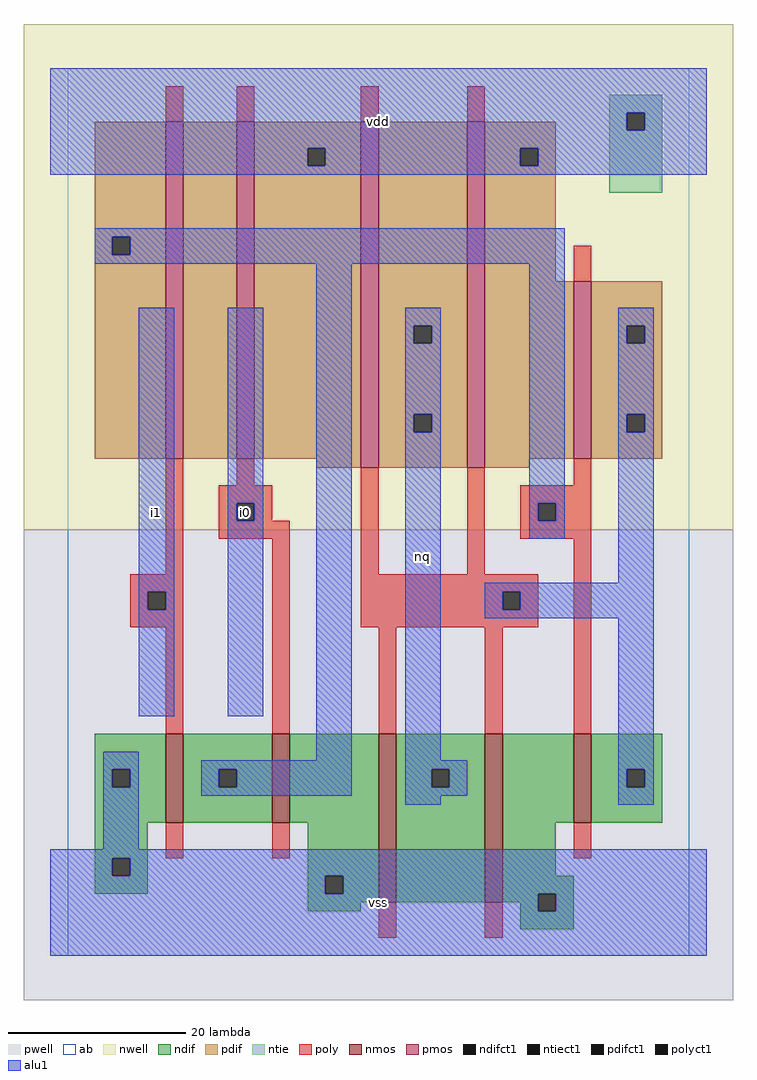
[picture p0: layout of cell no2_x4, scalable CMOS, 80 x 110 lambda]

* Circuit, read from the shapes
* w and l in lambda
.subckt no2_x4 i0 i1 nq vdd vss
M1 n1 i1 vss VSUBS nfet w=10 l=2
M2 vss i0 n1 VSUBS nfet w=10 l=2
M3 nq n2 vss VSUBS nfet w=19 l=2 m=2
M4 n2 n1 vss VSUBS nfet w=10 l=2
M5 n3 i1 n1 vdd pfet w=38 l=2
M6 vdd i0 n3 vdd pfet w=38 l=2
M7 nq n2 vdd vdd pfet w=39 l=2 m=2
M8 n2 n1 vdd vdd pfet w=20 l=2
.ends

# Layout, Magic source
magic
tech scmos
<< ab >>
rect 0 0 70 100
<< nwell >>
rect -5 48 75 105
<< pwell >>
rect -5 -5 75 48
<< poly >>
rect 11 94 13 98
rect 19 94 21 98
rect 33 94 35 98
rect 45 94 47 98
rect 11 43 13 56
rect 19 53 21 56
rect 57 76 59 80
rect 17 51 23 53
rect 17 49 19 51
rect 21 49 23 51
rect 17 47 25 49
rect 7 41 13 43
rect 7 39 9 41
rect 11 39 13 41
rect 7 37 13 39
rect 11 25 13 37
rect 23 25 25 47
rect 33 43 35 55
rect 45 43 47 55
rect 57 53 59 56
rect 51 51 59 53
rect 51 49 53 51
rect 55 49 59 51
rect 51 47 59 49
rect 33 41 53 43
rect 33 39 49 41
rect 51 39 53 41
rect 33 37 53 39
rect 35 25 37 37
rect 47 25 49 37
rect 57 25 59 47
rect 11 11 13 15
rect 23 11 25 15
rect 57 11 59 15
rect 35 2 37 6
rect 47 2 49 6
<< ndif >>
rect 3 21 11 25
rect 3 19 5 21
rect 7 19 11 21
rect 3 15 11 19
rect 13 21 23 25
rect 13 19 17 21
rect 19 19 23 21
rect 13 15 23 19
rect 25 15 35 25
rect 3 11 9 15
rect 3 9 5 11
rect 7 9 9 11
rect 3 7 9 9
rect 27 9 35 15
rect 27 7 29 9
rect 31 7 35 9
rect 27 6 35 7
rect 37 21 47 25
rect 37 19 41 21
rect 43 19 47 21
rect 37 6 47 19
rect 49 15 57 25
rect 59 21 67 25
rect 59 19 63 21
rect 65 19 67 21
rect 59 15 67 19
rect 49 9 55 15
rect 49 7 57 9
rect 49 6 53 7
rect 27 5 33 6
rect 51 5 53 6
rect 55 5 57 7
rect 51 3 57 5
<< pdif >>
rect 3 81 11 94
rect 3 79 5 81
rect 7 79 11 81
rect 3 56 11 79
rect 13 56 19 94
rect 21 91 33 94
rect 21 89 27 91
rect 29 89 33 91
rect 21 56 33 89
rect 28 55 33 56
rect 35 71 45 94
rect 35 69 39 71
rect 41 69 45 71
rect 35 61 45 69
rect 35 59 39 61
rect 41 59 45 61
rect 35 55 45 59
rect 47 91 55 94
rect 47 89 51 91
rect 53 89 55 91
rect 47 76 55 89
rect 47 56 57 76
rect 59 71 67 76
rect 59 69 63 71
rect 65 69 67 71
rect 59 61 67 69
rect 59 59 63 61
rect 65 59 67 61
rect 59 56 67 59
rect 47 55 52 56
<< alu1 >>
rect -2 95 72 100
rect -2 93 63 95
rect 65 93 72 95
rect -2 91 72 93
rect -2 89 27 91
rect 29 89 51 91
rect 53 89 72 91
rect -2 88 72 89
rect 3 81 56 82
rect 3 79 5 81
rect 7 79 56 81
rect 3 78 56 79
rect 8 41 12 73
rect 8 39 9 41
rect 11 39 12 41
rect 8 27 12 39
rect 18 51 22 73
rect 18 49 19 51
rect 21 49 22 51
rect 18 27 22 49
rect 4 21 8 23
rect 28 22 32 78
rect 4 19 5 21
rect 7 19 8 21
rect 4 12 8 19
rect 15 21 32 22
rect 15 19 17 21
rect 19 19 32 21
rect 15 18 32 19
rect 38 71 42 73
rect 38 69 39 71
rect 41 69 42 71
rect 38 61 42 69
rect 38 59 39 61
rect 41 59 42 61
rect 38 22 42 59
rect 52 51 56 78
rect 52 49 53 51
rect 55 49 56 51
rect 52 47 56 49
rect 62 71 66 73
rect 62 69 63 71
rect 65 69 66 71
rect 62 61 66 69
rect 62 59 63 61
rect 65 59 66 61
rect 62 42 66 59
rect 47 41 66 42
rect 47 39 49 41
rect 51 39 66 41
rect 47 38 66 39
rect 38 21 45 22
rect 38 19 41 21
rect 43 19 45 21
rect 38 18 45 19
rect 62 21 66 38
rect 62 19 63 21
rect 65 19 66 21
rect 38 17 42 18
rect 62 17 66 19
rect -2 11 72 12
rect -2 9 5 11
rect 7 9 72 11
rect -2 7 29 9
rect 31 7 72 9
rect -2 5 53 7
rect 55 5 72 7
rect -2 0 72 5
<< ntie >>
rect 61 95 67 97
rect 61 93 63 95
rect 65 93 67 95
rect 61 86 67 93
<< nmos >>
rect 11 15 13 25
rect 23 15 25 25
rect 35 6 37 25
rect 47 6 49 25
rect 57 15 59 25
<< pmos >>
rect 11 56 13 94
rect 19 56 21 94
rect 33 55 35 94
rect 45 55 47 94
rect 57 56 59 76
<< polyct1 >>
rect 19 49 21 51
rect 9 39 11 41
rect 53 49 55 51
rect 49 39 51 41
<< ndifct1 >>
rect 5 19 7 21
rect 17 19 19 21
rect 5 9 7 11
rect 29 7 31 9
rect 41 19 43 21
rect 63 19 65 21
rect 53 5 55 7
<< ntiect1 >>
rect 63 93 65 95
<< pdifct1 >>
rect 5 79 7 81
rect 27 89 29 91
rect 39 69 41 71
rect 39 59 41 61
rect 51 89 53 91
rect 63 69 65 71
rect 63 59 65 61
<< labels >>
rlabel alu1 10 50 10 50 6 i1
rlabel polyct1 20 50 20 50 6 i0
rlabel alu1 35 6 35 6 6 vss
rlabel alu1 40 45 40 45 6 nq
rlabel alu1 35 94 35 94 6 vdd
<< end >>
